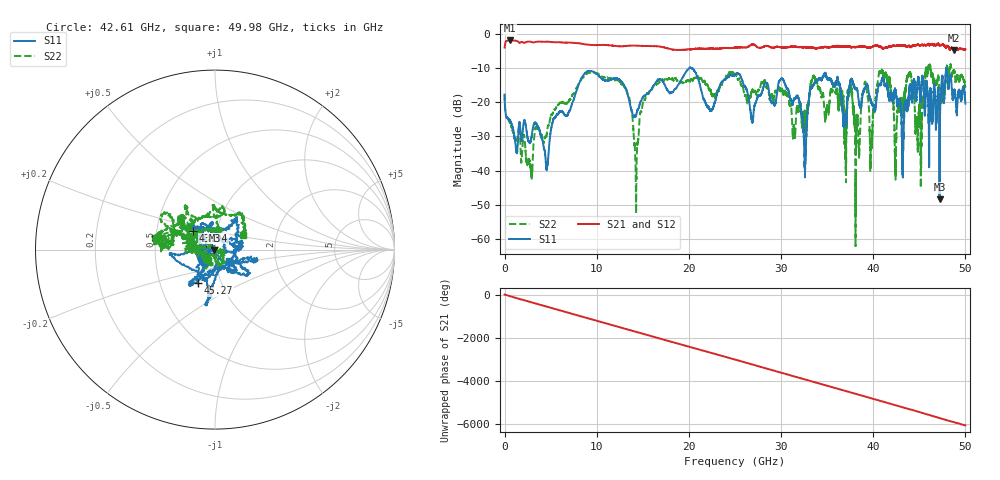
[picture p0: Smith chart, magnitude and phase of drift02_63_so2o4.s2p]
!Created with skrf (http://scikit-rf.org).
# Hz S RI R 50.0
!freq ReS11 ImS11 ReS21 ImS21 ReS12 ImS12 ReS22 ImS22
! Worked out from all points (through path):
!   10001 points, 300 kHz to 50 GHz, reference 50 ohm
!   highest |S21| = -2.00 dB at 590.3 MHz (marker M1); lowest = -4.9 dB at 48.77 GHz (marker M2)
!   group delay of S21, straight-line fit = 337 ps
!   lowest |S11| = -48.3 dB at 47.2 GHz (marker M3), VSWR 1.01, Z = 49.7 - j0.241 ohm
!   |S11| at or under -10 dB: start of sweep to 20.06 GHz; 20.20745 GHz to 20.22227 GHz (14.81 MHz wide, 0.0733 % of centre); 20.24 GHz to end of sweep (the widest 3 of 5)
!   |S22| runs from -62.0 to -8.9 dB; largest |S21 - S12| = 0.034
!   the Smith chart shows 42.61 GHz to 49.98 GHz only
!   S11 on the Smith chart (normalised r, x): 42.61 GHz: 0.88, -0.12; 43.94 GHz: 0.77, +0.17; 45.27 GHz: 0.78, -0.30; 49.98 GHz: 1.16, -0.15
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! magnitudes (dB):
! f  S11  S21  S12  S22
! 300 kHz  -17.9  -4.1  -4.0  -17.5
! 590.3 MHz  -25.3  -2.0  -2.0  -26.1
! 4.575 GHz  -39.3  -2.4  -2.4  -29.1
! 8.335 GHz  -13.0  -2.9  -2.9  -13.2
! 13.01 GHz  -15.3  -3.7  -3.6  -15.7
! 14.28 GHz  -23.8  -3.5  -3.5  -50.1
! 16.67 GHz  -13.3  -3.7  -3.7  -14.5
! 25 GHz  -12.1  -4.1  -4.1  -12.1
! 30.19 GHz  -13.4  -4.1  -4.1  -16.8
! 32.56 GHz  -39.0  -3.9  -4.0  -23.7
! 33.34 GHz  -15.7  -4.0  -4.1  -13.6
! 37.51 GHz  -14.1  -3.9  -3.8  -16.2
! 38.29 GHz  -16.8  -3.9  -3.9  -23.7
! 39.02 GHz  -16.3  -3.8  -3.8  -15.3
! 41.67 GHz  -18.3  -3.8  -3.9  -12.9
! 42.61 GHz  -20.6  -3.5  -3.5  -23.3
! 43.94 GHz  -15.8  -3.6  -3.6  -11.7
! 45.27 GHz  -13.6  -3.3  -3.3  -21.9
! 47.2 GHz  -48.3  -3.5  -3.4  -16.6
! 48.77 GHz  -16.9  -4.9  -4.8  -10.7
! 49.98 GHz  -19.8  -4.6  -4.6  -15.2
! 50 GHz  -20.5  -4.6  -4.6  -15.5
